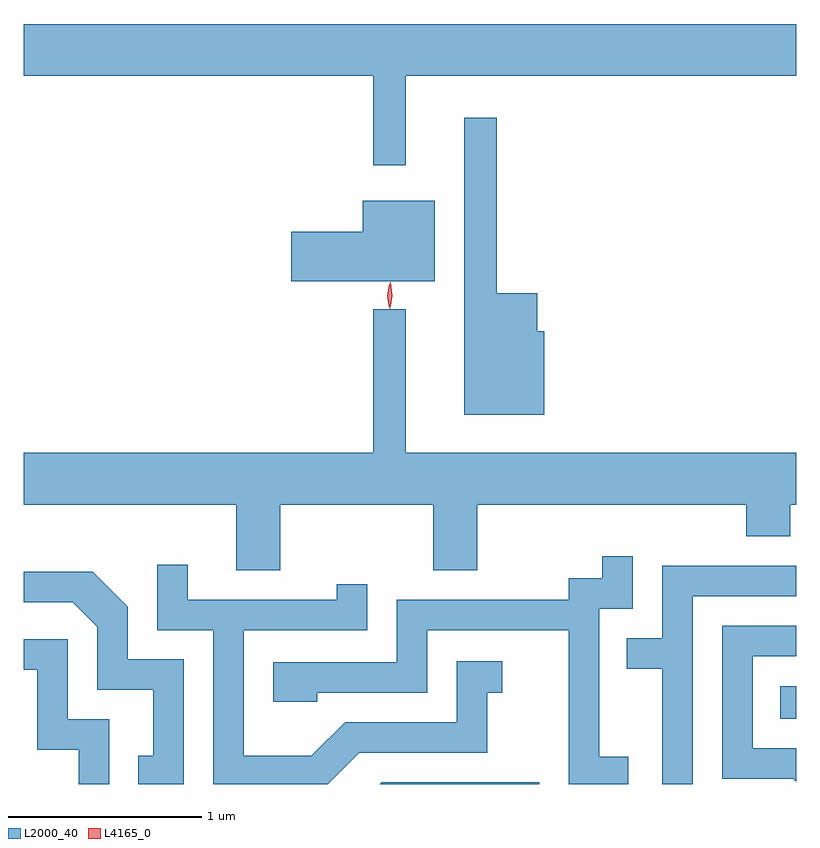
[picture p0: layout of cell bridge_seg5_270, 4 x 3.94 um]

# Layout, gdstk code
import gdstk
lib = gdstk.Library(unit=1e-6, precision=1e-09)
def R(c, l, rs):  # rectangles x0, y0, x1, y1
    for r in rs: c.add(gdstk.rectangle(r[:2], r[2:], *l))
def P(c, l, *ps):  # polygons
    for p in ps: c.add(gdstk.Polygon(p, *l))
L2000_40 = (2000, 40)
L4165_0 = (4165, 0)

bridge_seg5_270 = lib.new_cell('bridge_seg5_270')
R(bridge_seg5_270, L2000_40, [(811.678,1513.406,811.76,1513.574)])
P(bridge_seg5_270, L2000_40, [(809.739,1516.736),(811.76,1516.736),(811.76,1517.004),(807.76,1517.004),(807.76,1516.736),(809.571,1516.736),(809.571,1516.273),(809.739,1516.273)],
  [(810.454,1515.414),(810.419,1515.414),(810.419,1515.609),(810.209,1515.609),(810.209,1516.518),(810.041,1516.518),(810.041,1514.981),(810.454,1514.981)],
  [(809.889,1516.089),(809.516,1516.089),(809.516,1515.929),(809.146,1515.929),(809.146,1515.671),(809.889,1515.671)],
  [(809.089,1514.516),(809.881,1514.516),(809.881,1514.176),(810.109,1514.176),(810.109,1514.516),(811.501,1514.516),(811.501,1514.351),(811.729,1514.351),(811.729,1514.516),(811.76,1514.516),(811.76,1514.784),(809.739,1514.784),(809.739,1515.528),(809.571,1515.528),(809.571,1514.784),(807.76,1514.784),(807.76,1514.516),(808.861,1514.516),(808.861,1514.176),(809.089,1514.176)],
  [(810.889,1513.209),(810.739,1513.209),(810.739,1513.976),(810.914,1513.976),(810.914,1514.248),(810.756,1514.248),(810.756,1514.134),(810.581,1514.134),(810.581,1514.024),(809.691,1514.024),(809.691,1513.699),(809.051,1513.699),(809.051,1513.496),(809.279,1513.496),(809.279,1513.541),(809.849,1513.541),(809.849,1513.866),(810.581,1513.866),(810.581,1513.069),(810.889,1513.069)],
  [(809.497,1513.231),(810.159,1513.231),(810.159,1513.541),(810.238,1513.541),(810.238,1513.704),(810.001,1513.704),(810.001,1513.389),(809.424,1513.389),(809.249,1513.214),(808.899,1513.214),(808.899,1513.866),(809.539,1513.866),(809.539,1514.103),(809.381,1514.103),(809.381,1514.024),(808.609,1514.024),(808.609,1514.203),(808.451,1514.203),(808.451,1513.866),(808.741,1513.866),(808.741,1513.069),(809.335,1513.069)],
  [(811.224,1514.041),(811.76,1514.041),(811.76,1514.199),(811.066,1514.199),(811.066,1513.824),(810.883,1513.824),(810.883,1513.666),(811.066,1513.666),(811.066,1513.069),(811.224,1513.069)],
  [(808.589,1513.714),(808.299,1513.714),(808.299,1513.987),(808.117,1514.169),(807.76,1514.169),(807.76,1514.011),(808.014,1514.011),(808.141,1513.884),(808.141,1513.556),(808.431,1513.556),(808.431,1513.214),(808.353,1513.214),(808.353,1513.069),(808.589,1513.069)],
  [(811.76,1513.254),(811.534,1513.254),(811.534,1513.731),(811.76,1513.731),(811.76,1513.889),(811.376,1513.889),(811.376,1513.096),(811.744,1513.096),(811.76,1513.08)],
  [(808.204,1513.404),(807.989,1513.404),(807.989,1513.819),(807.76,1513.819),(807.76,1513.661),(807.831,1513.661),(807.831,1513.246),(808.046,1513.246),(808.046,1513.069),(808.204,1513.069)],
  [(810.429,1513.079),(809.614,1513.079),(809.604,1513.069),(810.429,1513.069)])
P(bridge_seg5_270, L4165_0, [(809.657,1515.53),(809.649,1515.598),(809.659,1515.666),(809.66,1515.666),(809.66,1515.666),(809.669,1515.598),(809.658,1515.53),(809.658,1515.53)],
  [(809.652,1515.533),(809.643,1515.596),(809.652,1515.659),(809.653,1515.66),(809.653,1515.659),(809.663,1515.596),(809.653,1515.533),(809.653,1515.533)])

lib.write_gds('bridge_seg5_270.gds')
